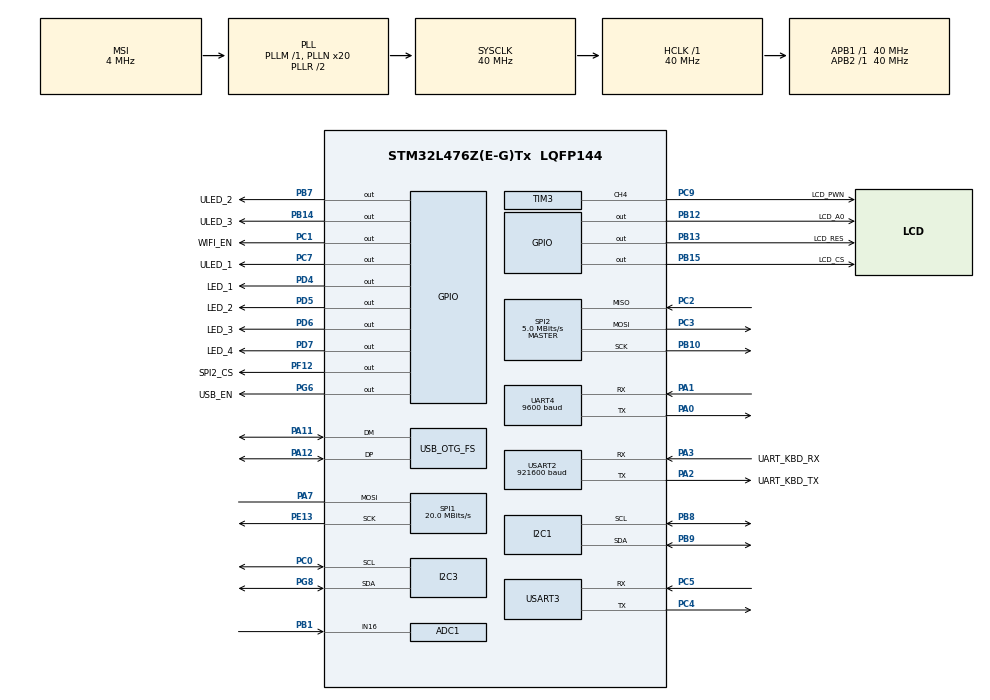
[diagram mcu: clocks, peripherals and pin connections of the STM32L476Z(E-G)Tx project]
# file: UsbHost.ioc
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ADC1.Channel-0\#ChannelRegularConversion=ADC_CHANNEL_16
ADC1.Channel-1\#ChannelRegularConversion=ADC_CHANNEL_TEMPSENSOR
ADC1.Channel-2\#ChannelRegularConversion=ADC_CHANNEL_VREFINT
ADC1.ContinuousConvMode=ENABLE
ADC1.DMAContinuousRequests=ENABLE
ADC1.EOCSelection=ADC_EOC_SEQ_CONV
ADC1.NbrOfConversion=3
ADC1.NbrOfConversionFlag=1
ADC1.OffsetNumber-0\#ChannelRegularConversion=ADC_OFFSET_NONE
ADC1.OffsetNumber-1\#ChannelRegularConversion=ADC_OFFSET_NONE
ADC1.OffsetNumber-2\#ChannelRegularConversion=ADC_OFFSET_NONE
ADC1.Overrun=ADC_OVR_DATA_OVERWRITTEN
ADC1.OversamplingMode=ENABLE
ADC1.Rank-0\#ChannelRegularConversion=1
ADC1.Rank-1\#ChannelRegularConversion=2
ADC1.Rank-2\#ChannelRegularConversion=3
ADC1.Ratio=ADC_OVERSAMPLING_RATIO_256
ADC1.RightBitShift=ADC_RIGHTBITSHIFT_8
ADC1.SamplingTime-0\#ChannelRegularConversion=ADC_SAMPLETIME_640CYCLES_5
ADC1.SamplingTime-1\#ChannelRegularConversion=ADC_SAMPLETIME_640CYCLES_5
ADC1.SamplingTime-2\#ChannelRegularConversion=ADC_SAMPLETIME_640CYCLES_5
ADC1.master=1
Dma.ADC1.2.Direction=DMA_PERIPH_TO_MEMORY
Dma.ADC1.2.Instance=DMA1_Channel1
Dma.ADC1.2.MemDataAlignment=DMA_MDATAALIGN_HALFWORD
Dma.ADC1.2.MemInc=DMA_MINC_ENABLE
Dma.ADC1.2.Mode=DMA_CIRCULAR
Dma.ADC1.2.PeriphDataAlignment=DMA_PDATAALIGN_HALFWORD
Dma.ADC1.2.PeriphInc=DMA_PINC_DISABLE
Dma.ADC1.2.Priority=DMA_PRIORITY_LOW
Dma.Request0=USART3_RX
Dma.Request1=USART3_TX
Dma.Request2=ADC1
Dma.USART3_RX.0.Direction=DMA_PERIPH_TO_MEMORY
Dma.USART3_RX.0.Instance=DMA1_Channel3
Dma.USART3_RX.0.MemDataAlignment=DMA_MDATAALIGN_BYTE
Dma.USART3_RX.0.MemInc=DMA_MINC_ENABLE
Dma.USART3_RX.0.Mode=DMA_CIRCULAR
Dma.USART3_RX.0.PeriphDataAlignment=DMA_PDATAALIGN_BYTE
Dma.USART3_RX.0.PeriphInc=DMA_PINC_DISABLE
Dma.USART3_RX.0.Priority=DMA_PRIORITY_LOW
Dma.USART3_TX.1.Direction=DMA_MEMORY_TO_PERIPH
Dma.USART3_TX.1.Instance=DMA1_Channel2
Dma.USART3_TX.1.MemDataAlignment=DMA_MDATAALIGN_BYTE
Dma.USART3_TX.1.MemInc=DMA_MINC_ENABLE
Dma.USART3_TX.1.Mode=DMA_NORMAL
Dma.USART3_TX.1.PeriphDataAlignment=DMA_PDATAALIGN_BYTE
Dma.USART3_TX.1.PeriphInc=DMA_PINC_DISABLE
Dma.USART3_TX.1.Priority=DMA_PRIORITY_LOW
FREERTOS.BinarySemaphores01=lcd_mutex,Dynamic,NULL
FREERTOS.HEAP_NUMBER=1
FREERTOS.INCLUDE_uxTaskGetStackHighWaterMark=1
FREERTOS.INCLUDE_uxTaskGetStackHighWaterMark2=1
FREERTOS.MEMORY_ALLOCATION=0
FREERTOS.Tasks01=defaultTask,0,128,StartDefaultTask,Default,NULL,Dynamic,NULL,NULL;UserInterface,0,384,UserInterfaceTask,As weak,NULL,Dynamic,NULL,NULL;UsartDriverT,2,128,UsartDriver_Task,As weak,NULL,Dynamic,NULL,NULL;Wifi,0,512,WifiTask,As weak,NULL,Dynamic,NULL,NULL;Sensors,0,512,SensorsTask,As weak,NULL,Dynamic,NULL,NULL;SensorsBme680,-3,256,SensorsBme680Task,As weak,NULL,Dynamic,NULL,NULL
FREERTOS.configCHECK_FOR_STACK_OVERFLOW=2
FREERTOS.configENABLE_BACKWARD_COMPATIBILITY=0
FREERTOS.configGENERATE_RUN_TIME_STATS=1
FREERTOS.configRECORD_STACK_HIGH_ADDRESS=1
FREERTOS.configTOTAL_HEAP_SIZE=16384
FREERTOS.configUSE_COUNTING_SEMAPHORES=1
FREERTOS.configUSE_MALLOC_FAILED_HOOK=1
FREERTOS.configUSE_NEWLIB_REENTRANT=1
I2C1.Timing=0x00909BEB
I2C3.Timing=0x00909BEB
IWDG.Prescaler=IWDG_PRESCALER_32
IWDG.Reload=3999
IWDG.Window=3999
Mcu.Family=STM32L4
Mcu.Name=STM32L476Z(E-G)Tx
Mcu.Package=LQFP144
NVIC.DMA1_Channel1_IRQn=true\:5\:0\:false\:false\:true\:true\:false\:true\:true
NVIC.DMA1_Channel2_IRQn=true\:5\:0\:false\:false\:true\:true\:false\:true\:true
NVIC.DMA1_Channel3_IRQn=true\:5\:0\:false\:false\:true\:true\:false\:true\:true
NVIC.OTG_FS_IRQn=true\:5\:0\:false\:false\:true\:true\:true\:true\:true
NVIC.PriorityGroup=NVIC_PRIORITYGROUP_4
NVIC.SPI1_IRQn=true\:5\:0\:false\:false\:true\:true\:true\:true\:true
NVIC.TIM1_TRG_COM_TIM17_IRQn=true\:0\:0\:false\:false\:true\:false\:false\:true\:true
NVIC.TIM1_UP_TIM16_IRQn=true\:5\:0\:false\:false\:true\:true\:true\:true\:true
NVIC.TimeBase=TIM1_TRG_COM_TIM17_IRQn
NVIC.TimeBaseIP=TIM17
NVIC.UART4_IRQn=true\:5\:0\:false\:false\:true\:true\:true\:true\:true
NVIC.USART2_IRQn=true\:5\:0\:false\:false\:true\:true\:true\:true\:true
NVIC.USART3_IRQn=true\:5\:0\:false\:false\:true\:true\:true\:true\:true
PA0.Mode=Asynchronous
PA0.Signal=UART4_TX
PA1.Mode=Asynchronous
PA1.Signal=UART4_RX
PA11.Mode=Host_Only
PA11.Signal=USB_OTG_FS_DM
PA12.Mode=Host_Only
PA12.Signal=USB_OTG_FS_DP
PA13\ (JTMS-SWDIO).Mode=Trace_Asynchronous_SW
PA13\ (JTMS-SWDIO).Signal=SYS_JTMS-SWDIO
PA14\ (JTCK-SWCLK).Mode=Trace_Asynchronous_SW
PA14\ (JTCK-SWCLK).Signal=SYS_JTCK-SWCLK
PA2.GPIO_Label=UART_KBD_TX
PA2.Mode=Asynchronous
PA2.Signal=USART2_TX
PA3.GPIO_Label=UART_KBD_RX
PA3.Mode=Asynchronous
PA3.Signal=USART2_RX
PA7.Mode=Simplex_Bidirectional_Master
PA7.Signal=SPI1_MOSI
PB1.Signal=ADCx_IN16
PB10.Mode=Full_Duplex_Master
PB10.Signal=SPI2_SCK
PB12.GPIO_Label=LCD_A0
PB12.Signal=GPIO_Output
PB13.GPIO_Label=LCD_RES
PB13.Signal=GPIO_Output
PB14.GPIO_Label=ULED_3
PB14.Signal=GPIO_Output
PB15.GPIO_Label=LCD_CS
PB15.Signal=GPIO_Output
PB3\ (JTDO-TRACESWO).Mode=Trace_Asynchronous_SW
PB3\ (JTDO-TRACESWO).Signal=SYS_JTDO-SWO
PB7.GPIO_Label=ULED_2
PB7.Signal=GPIO_Output
PB8.Mode=I2C
PB8.Signal=I2C1_SCL
PB9.Mode=I2C
PB9.Signal=I2C1_SDA
PC0.Mode=I2C
PC0.Signal=I2C3_SCL
PC1.GPIO_Label=WIFI_EN
PC1.Signal=GPIO_Output
PC2.Mode=Full_Duplex_Master
PC2.Signal=SPI2_MISO
PC3.Mode=Full_Duplex_Master
PC3.Signal=SPI2_MOSI
PC4.GPIO_PuPd=GPIO_NOPULL
PC4.Mode=Asynchronous
PC4.Signal=USART3_TX
PC5.GPIO_PuPd=GPIO_NOPULL
PC5.Mode=Asynchronous
PC5.Signal=USART3_RX
PC7.GPIO_Label=ULED_1
PC7.Signal=GPIO_Output
PC9.GPIO_Label=LCD_PWN
PC9.Signal=S_TIM3_CH4
PD4.GPIO_Label=LED_1
PD4.Signal=GPIO_Output
PD5.GPIO_Label=LED_2
PD5.Signal=GPIO_Output
PD6.GPIO_Label=LED_3
PD6.Signal=GPIO_Output
PD7.GPIO_Label=LED_4
PD7.Signal=GPIO_Output
PE13.Mode=Simplex_Bidirectional_Master
PE13.Signal=SPI1_SCK
PF12.GPIO_Label=SPI2_CS
PF12.Signal=GPIO_Output
PG6.GPIO_Label=USB_EN
PG6.Signal=GPIO_Output
PG8.Mode=I2C
PG8.Signal=I2C3_SDA
ProjectManager.HeapSize=0x200
ProjectManager.StackSize=0x400
ProjectManager.TargetToolchain=STM32CubeIDE
RCC.ADCFreq_Value=48000000
RCC.AHBFreq_Value=40000000
RCC.APB1Freq_Value=40000000
RCC.APB1TimFreq_Value=40000000
RCC.APB2Freq_Value=40000000
RCC.APB2TimFreq_Value=40000000
RCC.CortexFreq_Value=40000000
RCC.HCLKFreq_Value=40000000
RCC.HSE_VALUE=8000000
RCC.HSI_VALUE=16000000
RCC.LSE_VALUE=32768
RCC.MSI_VALUE=4000000
RCC.PLLN=20
RCC.PLLSAI1N=24
RCC.SYSCLKFreq_VALUE=40000000
RCC.SYSCLKSource=RCC_SYSCLKSOURCE_PLLCLK
RCC.USBFreq_Value=48000000
RCC.VCOOutputFreq_Value=80000000
SH.ADCx_IN16.0=ADC1_IN16,IN16-Single-Ended
SH.S_TIM3_CH4.0=TIM3_CH4,PWM Generation4 CH4
SPI1.CalculateBaudRate=20.0 MBits/s
SPI1.DataSize=SPI_DATASIZE_8BIT
SPI1.Direction=SPI_DIRECTION_1LINE
SPI1.Mode=SPI_MODE_MASTER
SPI1.NSSPMode=SPI_NSS_PULSE_DISABLE
SPI1.VirtualType=VM_MASTER
SPI2.BaudRatePrescaler=SPI_BAUDRATEPRESCALER_8
SPI2.CalculateBaudRate=5.0 MBits/s
SPI2.DataSize=SPI_DATASIZE_8BIT
SPI2.Direction=SPI_DIRECTION_2LINES
SPI2.Mode=SPI_MODE_MASTER
SPI2.VirtualType=VM_MASTER
TIM16.Period=9
TIM16.Prescaler=40000
TIM3.Channel-PWM\ Generation4\ CH4=TIM_CHANNEL_4
TIM3.Period=255
TIM3.Prescaler=1
UART4.BaudRate=9600
USART2.BaudRate=921600
USART2.VirtualMode-Asynchronous=VM_ASYNC
USART3.DMADisableonRxErrorParam=ADVFEATURE_DMA_DISABLEONRXERROR
USART3.OneBitSampling=UART_ONE_BIT_SAMPLE_ENABLE
USART3.OverrunDisableParam=ADVFEATURE_OVERRUN_DISABLE
USART3.VirtualMode-Asynchronous=VM_ASYNC
USB_HOST.BSP.number=1
USB_HOST.USBH_HandleTypeDef=hUsbHostFS
USB_HOST.USBH_PROCESS_PRIO=osPriorityHigh
USB_HOST.USBH_USE_OS-HID_FS=0
USB_HOST.VirtualModeFS=Hid
USB_HOST0.BSP.STBoard=false
USB_HOST0.BSP.api=Unknown
USB_HOST0.BSP.instance=PG6
USB_HOST0.BSP.ip=GPIO
USB_HOST0.BSP.mode=Output
USB_HOST0.BSP.name=Drive_VBUS_FS
USB_HOST0.BSP.solution=PG6
USB_OTG_FS.VirtualMode=Host_Only
USB_OTG_FS.phy_itface=HCD_PHY_EMBEDDED
VP_ADC1_TempSens_Input.Mode=IN-TempSens
VP_ADC1_Vref_Input.Mode=IN-Vrefint
VP_FREERTOS_VS_CMSIS_V1.Mode=CMSIS_V1
VP_IWDG_VS_IWDG.Mode=IWDG_Activate
VP_SYS_VS_tim17.Mode=TIM17
VP_TIM16_VS_ClockSourceINT.Mode=Enable_Timer
VP_USB_HOST_VS_USB_HOST_HID_FS.Mode=HID_FS
board=custom

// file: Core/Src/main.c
/* USER CODE BEGIN Header */
/**
  ******************************************************************************
  * @file           : main.c
  * @brief          : Main program body
  ******************************************************************************
  * @attention
  *
  * <h2><center>&copy; Copyright (c) 2021 STMicroelectronics.
  * All rights reserved.</center></h2>
  *
  * This software component is licensed by ST under BSD 3-Clause license,
  * the "License"; You may not use this file except in compliance with the
  * License. You may obtain a copy of the License at:
  *                        opensource.org/licenses/BSD-3-Clause
  *
  ******************************************************************************
  */
/* USER CODE END Header */
#include "main.h"
#include "cmsis_os.h"
#include "adc.h"
#include "dma.h"
#include "i2c.h"
#include "iwdg.h"
#include "spi.h"
#include "tim.h"
#include "usart.h"
#include "usb_host.h"
#include "gpio.h"

/* USER CODE BEGIN Includes */
#include "user_interface.h"
#include "wifi.h"
#include "usart_driver.h"
#include "device_specific.h"
#include "honeywell_sensor.h"
/* USER CODE END Includes */

/* USER CODE BEGIN PV */
extern TIM_HandleTypeDef htim3;
/* USER CODE END PV */

void SystemClock_Config(void);
void PeriphCommonClock_Config(void);
void MX_FREERTOS_Init(void);

int main(void)
{

  /* MCU Configuration--------------------------------------------------------*/

  /* Reset of all peripherals, Initializes the Flash interface and the Systick. */
  HAL_Init();

  /* Configure the system clock */
  SystemClock_Config();

/* Configure the peripherals common clocks */
  PeriphCommonClock_Config();

  /* Initialize all configured peripherals */
  MX_GPIO_Init();
  MX_DMA_Init();
  MX_USART2_UART_Init();
  MX_IWDG_Init();
  MX_SPI1_Init();
  MX_TIM3_Init();
  MX_USART3_UART_Init();
  MX_ADC1_Init();
  MX_TIM16_Init();
  MX_I2C1_Init();
  MX_SPI2_Init();
  MX_I2C3_Init();
  MX_UART4_Init();
  /* USER CODE BEGIN 2 */
#ifdef DEBUG
  __HAL_DBGMCU_FREEZE_IWDG();
#else
  __HAL_DBGMCU_UNFREEZE_IWDG();
#endif
  UI_Init();
  UsartDriver_Init();
  Wifi_Init();
  HAL_TIM_Base_Start_IT(&htim16);

  Honeywell_Init();
  //StartDmaConversion();

  for(int i = 0; i != 10; i++)
  {
    HAL_Delay(100);
    HAL_GPIO_WritePin(ULED_2_GPIO_Port, ULED_2_Pin, 1);
    HAL_Delay(100);
    HAL_GPIO_WritePin(ULED_2_GPIO_Port, ULED_2_Pin, 0);
  }
  /* USER CODE END 2 */

  /* Call init function for freertos objects (in freertos.c) */
  MX_FREERTOS_Init();

  /* Start scheduler */
  osKernelStart();
  /* We should never get here as control is now taken by the scheduler */
  /* Infinite loop */
  while (1)
  {

  }
}

void SystemClock_Config(void)
{
  RCC_OscInitTypeDef RCC_OscInitStruct = {0};
  RCC_ClkInitTypeDef RCC_ClkInitStruct = {0};

  /** Configure the main internal regulator output voltage
  */
  if (HAL_PWREx_ControlVoltageScaling(PWR_REGULATOR_VOLTAGE_SCALE1) != HAL_OK)
  {
    Error_Handler();
  }

  /** Initializes the RCC Oscillators according to the specified parameters
  * in the RCC_OscInitTypeDef structure.
  */
  RCC_OscInitStruct.OscillatorType = RCC_OSCILLATORTYPE_LSI|RCC_OSCILLATORTYPE_MSI;
  RCC_OscInitStruct.LSIState = RCC_LSI_ON;
  RCC_OscInitStruct.MSIState = RCC_MSI_ON;
  RCC_OscInitStruct.MSICalibrationValue = 0;
  RCC_OscInitStruct.MSIClockRange = RCC_MSIRANGE_6;
  RCC_OscInitStruct.PLL.PLLState = RCC_PLL_ON;
  RCC_OscInitStruct.PLL.PLLSource = RCC_PLLSOURCE_MSI;
  RCC_OscInitStruct.PLL.PLLM = 1;
  RCC_OscInitStruct.PLL.PLLN = 20;
  RCC_OscInitStruct.PLL.PLLP = RCC_PLLP_DIV7;
  RCC_OscInitStruct.PLL.PLLQ = RCC_PLLQ_DIV2;
  RCC_OscInitStruct.PLL.PLLR = RCC_PLLR_DIV2;
  if (HAL_RCC_OscConfig(&RCC_OscInitStruct) != HAL_OK)
  {
    Error_Handler();
  }

  /** Initializes the CPU, AHB and APB buses clocks
  */
  RCC_ClkInitStruct.ClockType = RCC_CLOCKTYPE_HCLK|RCC_CLOCKTYPE_SYSCLK
                              |RCC_CLOCKTYPE_PCLK1|RCC_CLOCKTYPE_PCLK2;
  RCC_ClkInitStruct.SYSCLKSource = RCC_SYSCLKSOURCE_PLLCLK;
  RCC_ClkInitStruct.AHBCLKDivider = RCC_SYSCLK_DIV1;
  RCC_ClkInitStruct.APB1CLKDivider = RCC_HCLK_DIV1;
  RCC_ClkInitStruct.APB2CLKDivider = RCC_HCLK_DIV1;

  if (HAL_RCC_ClockConfig(&RCC_ClkInitStruct, FLASH_LATENCY_2) != HAL_OK)
  {
    Error_Handler();
  }
}

void PeriphCommonClock_Config(void)
{
  RCC_PeriphCLKInitTypeDef PeriphClkInit = {0};

  /** Initializes the peripherals clock
  */
  PeriphClkInit.PeriphClockSelection = RCC_PERIPHCLK_USB|RCC_PERIPHCLK_ADC;
  PeriphClkInit.AdcClockSelection = RCC_ADCCLKSOURCE_PLLSAI1;
  PeriphClkInit.UsbClockSelection = RCC_USBCLKSOURCE_PLLSAI1;
  PeriphClkInit.PLLSAI1.PLLSAI1Source = RCC_PLLSOURCE_MSI;
  PeriphClkInit.PLLSAI1.PLLSAI1M = 1;
  PeriphClkInit.PLLSAI1.PLLSAI1N = 24;
  PeriphClkInit.PLLSAI1.PLLSAI1P = RCC_PLLP_DIV7;
  PeriphClkInit.PLLSAI1.PLLSAI1Q = RCC_PLLQ_DIV2;
  PeriphClkInit.PLLSAI1.PLLSAI1R = RCC_PLLR_DIV2;
  PeriphClkInit.PLLSAI1.PLLSAI1ClockOut = RCC_PLLSAI1_48M2CLK|RCC_PLLSAI1_ADC1CLK;
  if (HAL_RCCEx_PeriphCLKConfig(&PeriphClkInit) != HAL_OK)
  {
    Error_Handler();
  }
}

/* USER CODE BEGIN 4 */
int __io_putchar(int ch)
{
  ITM_SendChar(ch);
  return 0;
}

void HAL_UART_RxCpltCallback(UART_HandleTypeDef *huart)
{
  if(huart->Instance == huart4.Instance)
  {
      Honeywell_UartRecv(huart);
  }
}

void _putchar(char character)
{
    ITM_SendChar(character);
}
/* USER CODE END 4 */

void HAL_TIM_PeriodElapsedCallback(TIM_HandleTypeDef *htim)
{
  if (htim->Instance == TIM17) {
    HAL_IncTick();
  }
  /* USER CODE BEGIN Callback 1 */
  if(htim->Instance == TIM17)
  {
    Wifi_SysTick();
  }
  else if(htim->Instance == TIM16)
  {
    Wifi_10MsIsr();
  }

  /* USER CODE END Callback 1 */
}

void Error_Handler(void)
{
  /* USER CODE BEGIN Error_Handler_Debug */
  /* User can add his own implementation to report the HAL error return state */
  while (1)
  {
	  for(int i = 0; i != 15; i++)
	  {
	      HAL_GPIO_WritePin(ULED_3_GPIO_Port, ULED_3_Pin, 0);
		  HAL_Delay(100);
		  HAL_GPIO_WritePin(ULED_3_GPIO_Port, ULED_3_Pin, 1);
		  HAL_Delay(100);
	  }
	  __disable_irq();
  }
  /* USER CODE END Error_Handler_Debug */
}

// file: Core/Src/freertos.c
/* USER CODE BEGIN Header */
/**
  ******************************************************************************
  * File Name          : freertos.c
  * Description        : Code for freertos applications
  ******************************************************************************
  * @attention
  *
  * <h2><center>&copy; Copyright (c) 2021 STMicroelectronics.
  * All rights reserved.</center></h2>
  *
  * This software component is licensed by ST under Ultimate Liberty license
  * SLA0044, the "License"; You may not use this file except in compliance with
  * the License. You may obtain a copy of the License at:
  *                             www.st.com/SLA0044
  *
  ******************************************************************************
  */
/* USER CODE END Header */

#include "FreeRTOS.h"
#include "task.h"
#include "main.h"
#include "cmsis_os.h"

/* USER CODE BEGIN Includes */
#include "device_specific.h"
#include "usbh_def.h"
#include "usb_host.h"
#include "usbh_hid_keybd.h"
extern USBH_HandleTypeDef hUsbHostFS;
//extern ApplicationTypeDef Appli_state;
extern UART_HandleTypeDef huart2;
extern ApplicationTypeDef Appli_state;
extern IWDG_HandleTypeDef hiwdg;
/* USER CODE END Includes */

osThreadId defaultTaskHandle;
osThreadId UserInterfaceHandle;
osThreadId UsartDriverTHandle;
osThreadId WifiHandle;
osThreadId SensorsHandle;
osThreadId SensorsBme680Handle;
osSemaphoreId lcd_mutexHandle;

void StartDefaultTask(void const * argument);
void UserInterfaceTask(void const * argument);
void UsartDriver_Task(void const * argument);
void WifiTask(void const * argument);
void SensorsTask(void const * argument);
void SensorsBme680Task(void const * argument);

extern void MX_USB_HOST_Init(void);
void MX_FREERTOS_Init(void); /* (MISRA C 2004 rule 8.1) */

/* Hook prototypes */
void configureTimerForRunTimeStats(void);
unsigned long getRunTimeCounterValue(void);
void vApplicationStackOverflowHook(TaskHandle_t xTask, signed char *pcTaskName);
void vApplicationMallocFailedHook(void);

/* USER CODE BEGIN 1 */
/* Functions needed when configGENERATE_RUN_TIME_STATS is on */
__weak void configureTimerForRunTimeStats(void)
{

}

__weak unsigned long getRunTimeCounterValue(void)
{
return 0;
}
/* USER CODE END 1 */

/* USER CODE BEGIN 4 */
__weak void vApplicationStackOverflowHook(TaskHandle_t xTask, signed char *pcTaskName)
{
   /* Run time stack overflow checking is performed if
   configCHECK_FOR_STACK_OVERFLOW is defined to 1 or 2. This hook function is
   called if a stack overflow is detected. */
	Error_Handler();
}
/* USER CODE END 4 */

/* USER CODE BEGIN 5 */
__weak void vApplicationMallocFailedHook(void)
{
   /* vApplicationMallocFailedHook() will only be called if
   configUSE_MALLOC_FAILED_HOOK is set to 1 in FreeRTOSConfig.h. It is a hook
   function that will get called if a call to pvPortMalloc() fails.
   pvPortMalloc() is called internally by the kernel whenever a task, queue,
   timer or semaphore is created. It is also called by various parts of the
   demo application. If heap_1.c or heap_2.c are used, then the size of the
   heap available to pvPortMalloc() is defined by configTOTAL_HEAP_SIZE in
   FreeRTOSConfig.h, and the xPortGetFreeHeapSize() API function can be used
   to query the size of free heap space that remains (although it does not
   provide information on how the remaining heap might be fragmented). */
	Error_Handler();
}
/* USER CODE END 5 */

void MX_FREERTOS_Init(void) {

  /* Create the semaphores(s) */
  /* definition and creation of lcd_mutex */
  osSemaphoreDef(lcd_mutex);
  lcd_mutexHandle = osSemaphoreCreate(osSemaphore(lcd_mutex), 1);

  /* Create the thread(s) */
  /* definition and creation of defaultTask */
  osThreadDef(defaultTask, StartDefaultTask, osPriorityRealtime, 0, 384);
  defaultTaskHandle = osThreadCreate(osThread(defaultTask), NULL);

  /* definition and creation of UserInterface */
  osThreadDef(UserInterface, UserInterfaceTask, osPriorityNormal, 0, 384);
  UserInterfaceHandle = osThreadCreate(osThread(UserInterface), NULL);

  /* definition and creation of UsartDriverT */
  osThreadDef(UsartDriverT, UsartDriver_Task, osPriorityHigh, 0, 128);
  UsartDriverTHandle = osThreadCreate(osThread(UsartDriverT), NULL);

  /* definition and creation of Wifi */
  osThreadDef(Wifi, WifiTask, osPriorityNormal, 0, 512);
  WifiHandle = osThreadCreate(osThread(Wifi), NULL);

  /* definition and creation of Sensors */
  osThreadDef(Sensors, SensorsTask, osPriorityNormal, 0, 512);
  SensorsHandle = osThreadCreate(osThread(Sensors), NULL);

  /* definition and creation of SensorsBme680 */
  osThreadDef(SensorsBme680, SensorsBme680Task, osPriorityIdle, 0, 1024);
  SensorsBme680Handle = osThreadCreate(osThread(SensorsBme680), NULL);

}

/* USER CODE BEGIN Header_StartDefaultTask */
uint16_t crc16_update(uint16_t crc, uint8_t a)
{
  int i;
  crc ^= a;
  for(i = 0; i < 8; ++i)
  {
    if(crc & 1)
      crc = (crc >> 1) ^ 0xA001;
    else
      crc = (crc >> 1);
  }
  return crc;
}

/**
 * @brief Calculate CRC-16
 * @param data_in Data to calculate CRC from
 * @param data_length Length of the data
 */
uint16_t crc16_calculate(uint8_t* data_in, uint16_t data_length)
{
  uint16_t crc_calc = 0xFFFF;
  for(uint8_t* p = data_in; p < (data_in + data_length); p++)
  {
    crc_calc = crc16_update(crc_calc, *p);
  }
  return crc_calc;
}

static void SendMessage(uint8_t* msg, uint8_t len)
{
  uint8_t output_buffer[255];
  memcpy(output_buffer, msg, len);
  uint16_t crc16 = crc16_calculate(msg, len);
  memcpy(&output_buffer[len], &crc16, sizeof(crc16));
  HAL_UART_Transmit(&huart2, output_buffer, len + 2, 100);
}

void SendInitMessage(void)
{
  SendMessage((uint8_t*)"reset", 5);
}

void SendPressedKeys(void)
{
  if(Appli_state != APPLICATION_READY)
    return;

  __disable_irq();
  DEBUG_VOLATILE HID_KEYBD_Info_TypeDef* info = USBH_HID_GetKeybdInfo(&hUsbHostFS);
  if(info)
  {
    SendMessage((uint8_t*)info, sizeof(HID_KEYBD_Info_TypeDef));
  }
  __enable_irq();
}

extern uint8_t rx_circular_buffer[512];
extern uint8_t uart_byte;
extern uint16_t uart_recv_cnt;

uint32_t last_particle_meas = 0;

extern UART_HandleTypeDef huart4;
/**
  * @brief  Function implementing the defaultTask thread.
  * @param  argument: Not used
  * @retval None
  */
/* USER CODE END Header_StartDefaultTask */
void StartDefaultTask(void const * argument)
{
  /* init code for USB_HOST */
  MX_USB_HOST_Init();
  /* USER CODE BEGIN StartDefaultTask */

  SendInitMessage();

  /* Infinite loop */
  for(;;)
  {
    SendPressedKeys();
    if(hiwdg.Instance)
        HAL_IWDG_Refresh(&hiwdg);
    osDelay(1);
  }
  /* USER CODE END StartDefaultTask */
}

__weak void UserInterfaceTask(void const * argument)
{
  for(;;)
  {
    osDelay(1);
  }
}

__weak void UsartDriver_Task(void const * argument)
{
  for(;;)
  {
    osDelay(1);
  }
}

__weak void WifiTask(void const * argument)
{
  for(;;)
  {
    osDelay(1);
  }
}

__weak void SensorsTask(void const * argument)
{
  for(;;)
  {
    osDelay(1);
  }
}

__weak void SensorsBme680Task(void const * argument)
{
  for(;;)
  {
    osDelay(1);
  }
}
